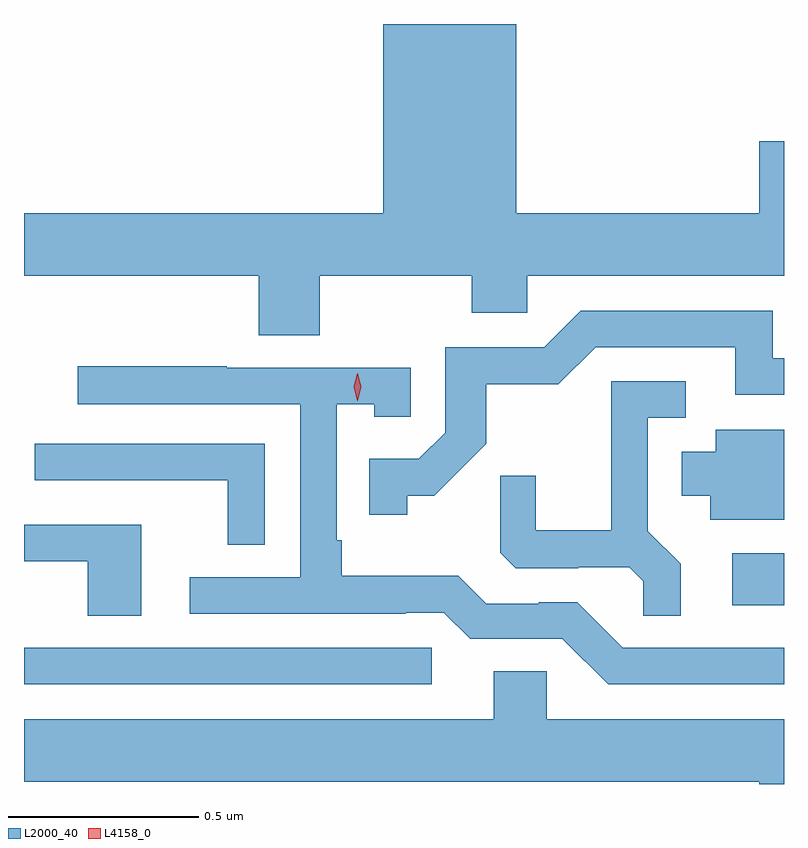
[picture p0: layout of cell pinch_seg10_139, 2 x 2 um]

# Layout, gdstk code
import gdstk
lib = gdstk.Library(unit=1e-6, precision=1e-09)
def R(c, l, rs):  # rectangles x0, y0, x1, y1
    for r in rs: c.add(gdstk.rectangle(r[:2], r[2:], *l))
def P(c, l, *ps):  # polygons
    for p in ps: c.add(gdstk.Polygon(p, *l))
L2000_40 = (2000, 40)
L4158_0 = (4158, 0)

pinch_seg10_139 = lib.new_cell('pinch_seg10_139')
R(pinch_seg10_139, L2000_40, [(702.533,1276.596,703.606,1276.692), (704.397,1276.805,704.533,1276.941)])
P(pinch_seg10_139, L2000_40, [(703.311,1277.672),(703.711,1277.672),(703.711,1277.574),(703.857,1277.574),(703.857,1277.672),(704.533,1277.672),(704.533,1278.025),(704.468,1278.025),(704.468,1277.836),(703.828,1277.836),(703.828,1278.334),(703.478,1278.334),(703.478,1277.836),(702.533,1277.836),(702.533,1277.672),(703.151,1277.672),(703.151,1277.515),(703.311,1277.515)],
  [(703.542,1277.093),(703.612,1277.093),(703.75,1277.23),(703.75,1277.386),(703.939,1277.386),(704.037,1277.484),(704.405,1277.484),(704.405,1277.358),(704.533,1277.358),(704.533,1277.454),(704.504,1277.454),(704.504,1277.58),(703.998,1277.58),(703.902,1277.484),(703.641,1277.484),(703.641,1277.259),(703.572,1277.19),(703.441,1277.19),(703.441,1277.043),(703.542,1277.043)],
  [(704.533,1276.692),(704.109,1276.692),(703.989,1276.812),(703.888,1276.812),(703.888,1276.809),(703.749,1276.809),(703.676,1276.882),(703.369,1276.882),(703.369,1276.975),(703.356,1276.975),(703.356,1277.333),(703.455,1277.333),(703.455,1277.301),(703.551,1277.301),(703.551,1277.43),(703.067,1277.43),(703.067,1277.433),(702.675,1277.433),(702.675,1277.334),(703.26,1277.334),(703.26,1276.878),(702.969,1276.878),(702.969,1276.782),(703.538,1276.782),(703.538,1276.785),(703.638,1276.785),(703.707,1276.716),(703.95,1276.716),(704.07,1276.596),(704.533,1276.596)],
  [(704.261,1276.913),(704.175,1276.999),(704.175,1277.298),(704.275,1277.298),(704.275,1277.394),(704.078,1277.394),(704.078,1277.002),(703.88,1277.002),(703.88,1277.145),(703.786,1277.145),(703.786,1276.943),(703.827,1276.902),(703.992,1276.902),(703.992,1276.905),(704.126,1276.905),(704.163,1276.868),(704.163,1276.777),(704.261,1276.777)],
  [(704.533,1277.266),(704.354,1277.266),(704.354,1277.209),(704.264,1277.209),(704.264,1277.093),(704.339,1277.093),(704.339,1277.03),(704.533,1277.03)],
  [(703.167,1277.229),(702.561,1277.229),(702.561,1277.134),(702.673,1277.134),(702.673,1277.133),(703.069,1277.133),(703.069,1276.963),(703.167,1276.963)],
  [(702.841,1277.016),(702.533,1277.016),(702.533,1276.92),(702.701,1276.92),(702.701,1276.777),(702.841,1276.777)],
  [(704.533,1276.504),(703.908,1276.504),(703.908,1276.631),(703.769,1276.631),(703.769,1276.504),(702.533,1276.504),(702.533,1276.34),(704.468,1276.34),(704.468,1276.334),(704.533,1276.334)])
P(pinch_seg10_139, L4158_0, [(703.41,1277.343),(703.401,1277.379),(703.41,1277.414),(703.411,1277.415),(703.411,1277.414),(703.421,1277.379),(703.411,1277.343),(703.411,1277.343)])

lib.write_gds('pinch_seg10_139.gds')
